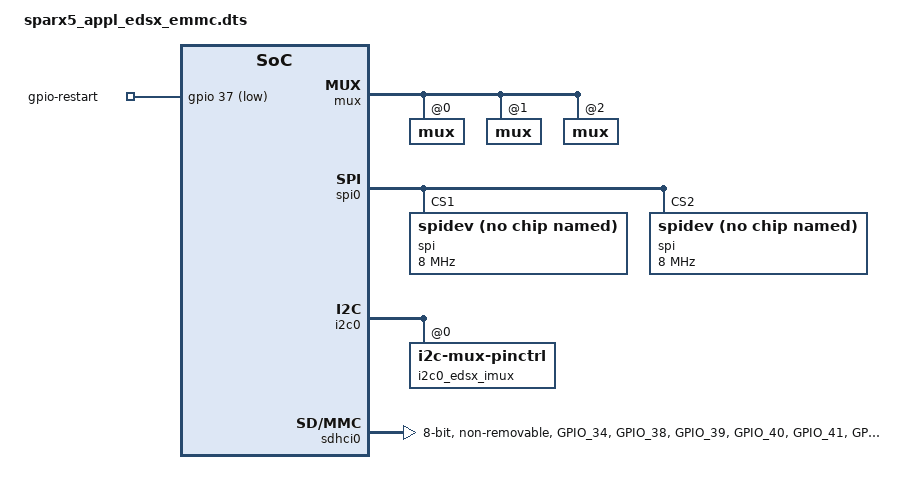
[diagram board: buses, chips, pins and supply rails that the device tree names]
// SPDX-License-Identifier: (GPL-2.0+ OR MIT)
/*
 * Copyright (c) 2023 Microchip Technology Inc. and its subsidiaries.
 */

#include "sparx5_pcb134_board.dtsi"
#include "sparx5_appl_pcb_common.dtsi"

/{
	aliases {
		i2c0   = &i2c0;
	};
	/delete-node/ leds;
	/delete-node/ gpio-restart;
	gpio-restart {
		compatible = "gpio-restart";
		gpios = <&gpio 37 GPIO_ACTIVE_LOW>;
		open-source;
		priority = <200>;
	};
};

&mux {
	mux@0 {
		reg = <0>;
		microchip,bus-interface = <0>;
	};
	mux@1 {
		reg = <1>;
		microchip,bus-interface = <1>;
	};
	mux@2 {
		reg = <2>;
		microchip,bus-interface = <1>;
	};
};

&gpio {
	/delete-node/ i2cmux-pins-i;
	/delete-node/ i2cmux-0;
	/delete-node/ i2cmux-1;
	i2cmux_pins_edsx: i2cmux-pins-edsx {
		pins = "GPIO_50", "GPIO_51";
		function = "twi_scl_m";
		output-low;
	};
	i2cmux_edsx_0: i2cmux-edsx-0 {
		pins = "GPIO_50";
		function = "twi_scl_m";
		output-high;
	};
	i2cmux_edsx_1: i2cmux-edsx-1 {
		pins = "GPIO_51";
		function = "twi_scl_m";
		output-high;
	};
	emmc_pins: emmc-pins {
		/* NB: No "GPIO_35", "GPIO_36", "GPIO_37"
		* (N/A: CARD_nDETECT, CARD_WP, CARD_LED)
		*/
		pins = "GPIO_34", "GPIO_38", "GPIO_39",
			"GPIO_40", "GPIO_41", "GPIO_42",
			"GPIO_43", "GPIO_44", "GPIO_45",
			"GPIO_46", "GPIO_47";
		drive-strength = <3>;
		function = "emmc";
	};
};

&spi0 {
	mux-controls = <&mux>;
	pinctrl-names = "default";
	spi@1 {
			compatible = "spidev";
			mux-controls = <&mux>;
			#address-cells = <1>;
			#size-cells = <0>;
			reg = <1>;
			pinctrl-0 = <&cs1_pins>;
			pinctrl-names = "default";
			spi-max-frequency = <8000000>;
	};
	spi@2 {
			compatible = "spidev";
			mux-controls = <&mux>;
			#address-cells = <1>;
			#size-cells = <0>;
			reg = <2>;
			pinctrl-0 = <&cs2_pins>;
			pinctrl-names = "default";
			spi-max-frequency = <8000000>;
	};
};

&switch {
	status = "disabled";
	/delete-property/ resets;
	/delete-property/ reset-names;
	/delete-node/ ethernet-ports;
};

&axi {
	/delete-node/ sfp-eth12;
	/delete-node/ sfp-eth13;
	/delete-node/ sfp-eth14;
	/delete-node/ sfp-eth15;
	/delete-node/ sfp-eth48;
	/delete-node/ sfp-eth49;
	/delete-node/ sfp-eth50;
	/delete-node/ sfp-eth51;
	/delete-node/ sfp-eth52;
	/delete-node/ sfp-eth53;
	/delete-node/ sfp-eth54;
	/delete-node/ sfp-eth55;
	/delete-node/ sfp-eth56;
	/delete-node/ sfp-eth57;
	/delete-node/ sfp-eth58;
	/delete-node/ sfp-eth59;
	/delete-node/ sfp-eth60;
	/delete-node/ sfp-eth61;
	/delete-node/ sfp-eth62;
	/delete-node/ sfp-eth63;
	/delete-node/ gpio@61101036c;
	/delete-node/ gpio@611010484;
	/delete-node/ gpio@61101059c;
	/delete-node/ i2c0-imux@0;
	/delete-node/ i2c0-emux@0;
	i2c0_edsx_imux: i2c0-edsx-imux@0 {
		compatible = "i2c-mux-pinctrl";
		#address-cells = <1>;
		#size-cells = <0>;
		i2c-parent = <&i2c0>;
	};
};

&i2c0_edsx_imux {
	pinctrl-names = "i2c_temp_sensor" , "i2c_eeprom";
	pinctrl-0 = <&i2cmux_edsx_0>;
	pinctrl-1 = <&i2cmux_edsx_1>;
	i2c_temp_sensor: i2c_temp_sensor {
		reg = <0x4c>;
		#address-cells = <1>;
		#size-cells = <0>;
	};
	i2c_eeprom: i2c_eeprom {
		reg = <0x57>;
		#address-cells = <1>;
		#size-cells = <0>;
	};
};

&mdio3 {
	status = "disabled";
	/delete-node/ ethernet-phy@64;
};

&sdhci0 {
	status = "okay";
	pinctrl-0 = <&emmc_pins>;
	non-removable;
	max-frequency = <52000000>;
	bus-width = <8>;
	microchip,clock-delay = <10>;
};
